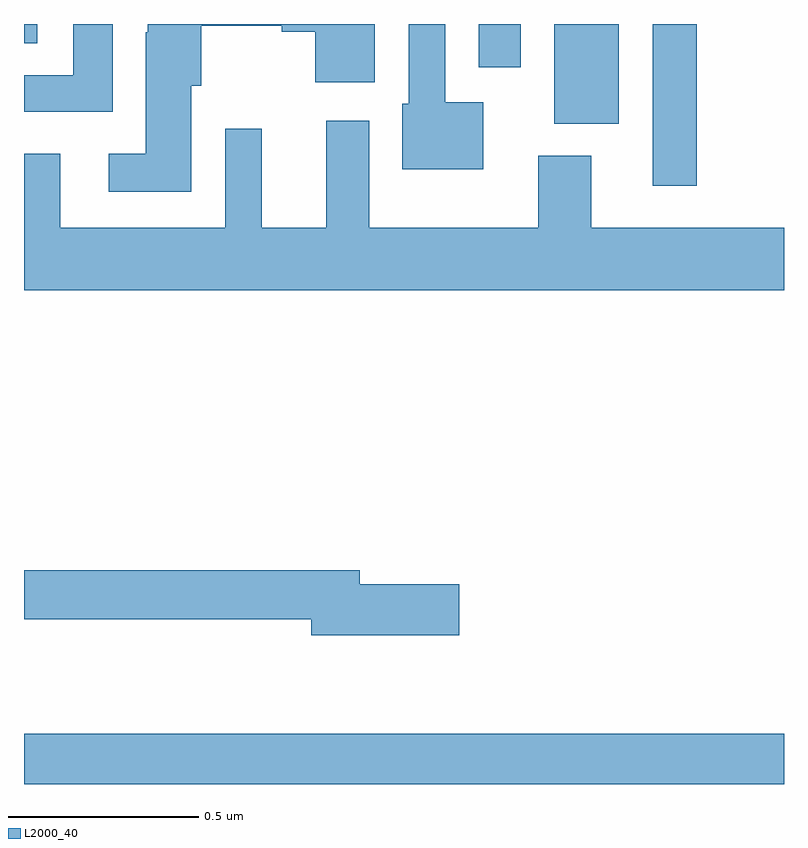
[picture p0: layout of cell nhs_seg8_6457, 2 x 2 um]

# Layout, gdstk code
import gdstk
lib = gdstk.Library(unit=1e-6, precision=1e-09)
def R(c, l, rs):  # rectangles x0, y0, x1, y1
    for r in rs: c.add(gdstk.rectangle(r[:2], r[2:], *l))
def P(c, l, *ps):  # polygons
    for p in ps: c.add(gdstk.Polygon(p, *l))
L2000_40 = (2000, 40)

nhs_seg8_6457 = lib.new_cell('nhs_seg8_6457')
R(nhs_seg8_6457, L2000_40, [(197,1081.9,199,1082.032), (198.654,1083.474,198.77,1083.9), (198.395,1083.638,198.565,1083.9), (198.197,1083.786,198.307,1083.9), (197,1083.85,197.035,1083.9)])
P(nhs_seg8_6457, L2000_40, [(197.233,1083.9),(197.129,1083.9),(197.129,1083.765),(197,1083.765),(197,1083.669),(197.233,1083.669)],
  [(197.44,1083.738),(197.466,1083.738),(197.466,1083.895),(197.678,1083.895),(197.678,1083.88),(197.767,1083.88),(197.767,1083.747),(197.923,1083.747),(197.923,1083.9),(197.325,1083.9),(197.325,1083.878),(197.321,1083.878),(197.321,1083.559),(197.223,1083.559),(197.223,1083.458),(197.44,1083.458)],
  [(198.208,1083.694),(198.108,1083.694),(198.108,1083.9),(198.012,1083.9),(198.012,1083.69),(197.996,1083.69),(197.996,1083.518),(198.208,1083.518)],
  [(199,1083.364),(198.493,1083.364),(198.493,1083.553),(198.353,1083.553),(198.353,1083.364),(197.908,1083.364),(197.908,1083.646),(197.795,1083.646),(197.795,1083.364),(197.626,1083.364),(197.626,1083.625),(197.529,1083.625),(197.529,1083.364),(197.095,1083.364),(197.095,1083.559),(197,1083.559),(197,1083.2),(199,1083.2)],
  [(198.145,1082.426),(197.884,1082.426),(197.884,1082.462),(197,1082.462),(197,1082.334),(197.756,1082.334),(197.756,1082.291),(198.145,1082.291)])

lib.write_gds('nhs_seg8_6457.gds')
